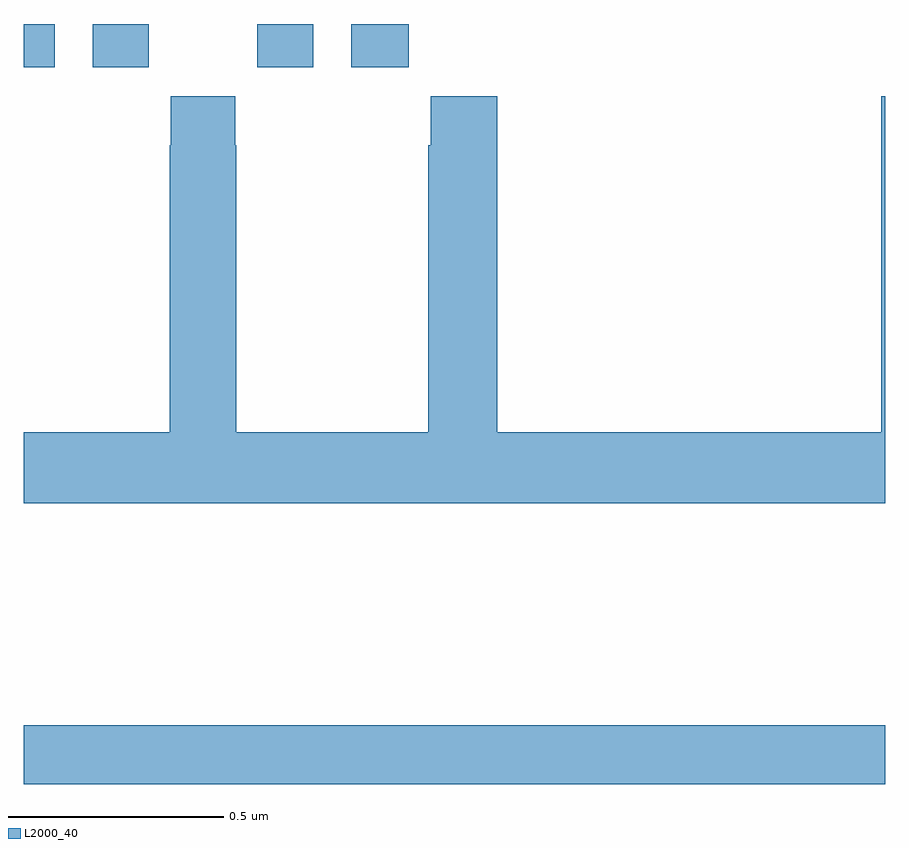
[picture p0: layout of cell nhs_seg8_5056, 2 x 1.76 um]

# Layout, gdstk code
import gdstk
lib = gdstk.Library(unit=1e-6, precision=1e-09)
def R(c, l, rs):  # rectangles x0, y0, x1, y1
    for r in rs: c.add(gdstk.rectangle(r[:2], r[2:], *l))
def P(c, l, *ps):  # polygons
    for p in ps: c.add(gdstk.Polygon(p, *l))
L2000_40 = (2000, 40)

nhs_seg8_5056 = lib.new_cell('nhs_seg8_5056')
R(nhs_seg8_5056, L2000_40, [(178,1161.136,180,1161.272), (178,1162.8,178.072,1162.9), (178.16,1162.8,178.29,1162.9), (178.542,1162.8,178.672,1162.9), (178.76,1162.8,178.894,1162.9)])
P(nhs_seg8_5056, L2000_40, [(180,1162.732),(179.99,1162.732),(179.99,1161.952),(179.099,1161.952),(179.099,1162.732),(178.945,1162.732),(178.945,1162.619),(178.939,1162.619),(178.939,1161.952),(178.494,1161.952),(178.494,1162.619),(178.491,1162.619),(178.491,1162.732),(178.341,1162.732),(178.341,1162.619),(178.339,1162.619),(178.339,1161.952),(178,1161.952),(178,1161.788),(180,1161.788)])

lib.write_gds('nhs_seg8_5056.gds')
